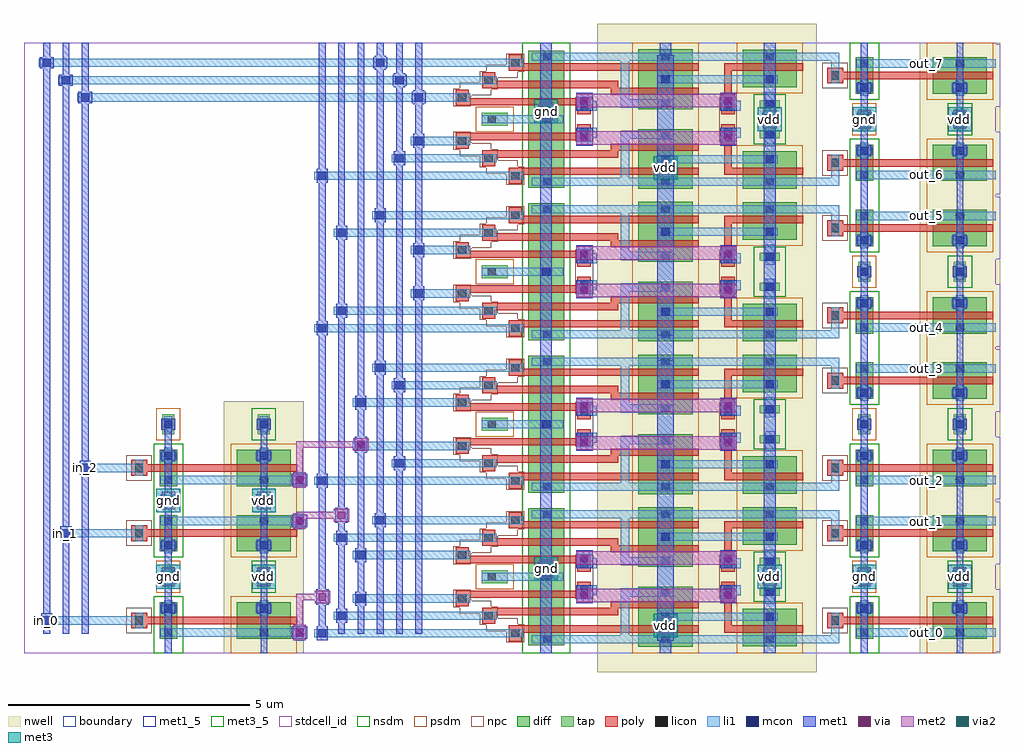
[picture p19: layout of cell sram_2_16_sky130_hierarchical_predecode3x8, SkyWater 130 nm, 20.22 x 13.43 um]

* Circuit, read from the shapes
.subckt sram_2_16_sky130_hierarchical_predecode3x8 gnd in_0 in_1 in_2 out_0 out_1 out_2 out_3 out_4 out_5 out_6 out_7 vdd
XM1 gnd in_0 sram_2_16_sky130_and3_dec_3/A gnd sky130_fd_pr__nfet_01v8 w=0.36 l=0.15
XM2 sram_2_16_sky130_and3_dec_3/B in_1 gnd gnd sky130_fd_pr__nfet_01v8 w=0.36 l=0.15
XM3 gnd in_2 sram_2_16_sky130_and3_dec_3/C gnd sky130_fd_pr__nfet_01v8 w=0.36 l=0.15
XM4 n1 sram_2_16_sky130_and3_dec_3/A sram_2_16_sky130_and3_dec_3/sram_2_16_sky130_pinv_dec_1/A gnd sky130_fd_pr__nfet_01v8 w=0.74 l=0.15
XM5 n2 sram_2_16_sky130_and3_dec_3/B n1 gnd sky130_fd_pr__nfet_01v8 w=0.74 l=0.15
XM6 gnd sram_2_16_sky130_and3_dec_3/C n2 gnd sky130_fd_pr__nfet_01v8 w=0.74 l=0.15
XM7 n3 sram_2_16_sky130_and3_dec_3/C gnd gnd sky130_fd_pr__nfet_01v8 w=0.74 l=0.15
XM8 n4 sram_2_16_sky130_and3_dec_3/B n3 gnd sky130_fd_pr__nfet_01v8 w=0.74 l=0.15
XM9 sram_2_16_sky130_and3_dec_4/sram_2_16_sky130_pinv_dec_1/A in_0 n4 gnd sky130_fd_pr__nfet_01v8 w=0.74 l=0.15
XM10 n5 sram_2_16_sky130_and3_dec_3/A sram_2_16_sky130_and3_dec_5/sram_2_16_sky130_pinv_dec_1/A gnd sky130_fd_pr__nfet_01v8 w=0.74 l=0.15
XM11 n6 in_1 n5 gnd sky130_fd_pr__nfet_01v8 w=0.74 l=0.15
XM12 gnd sram_2_16_sky130_and3_dec_3/C n6 gnd sky130_fd_pr__nfet_01v8 w=0.74 l=0.15
XM13 n7 sram_2_16_sky130_and3_dec_3/C gnd gnd sky130_fd_pr__nfet_01v8 w=0.74 l=0.15
XM14 n8 in_1 n7 gnd sky130_fd_pr__nfet_01v8 w=0.74 l=0.15
XM15 sram_2_16_sky130_and3_dec_6/sram_2_16_sky130_pinv_dec_1/A in_0 n8 gnd sky130_fd_pr__nfet_01v8 w=0.74 l=0.15
XM16 n9 sram_2_16_sky130_and3_dec_3/A sram_2_16_sky130_and3_dec_7/sram_2_16_sky130_pinv_dec_1/A gnd sky130_fd_pr__nfet_01v8 w=0.74 l=0.15
XM17 n10 sram_2_16_sky130_and3_dec_3/B n9 gnd sky130_fd_pr__nfet_01v8 w=0.74 l=0.15
XM18 gnd in_2 n10 gnd sky130_fd_pr__nfet_01v8 w=0.74 l=0.15
XM19 n11 in_2 gnd gnd sky130_fd_pr__nfet_01v8 w=0.74 l=0.15
XM20 n12 sram_2_16_sky130_and3_dec_3/B n11 gnd sky130_fd_pr__nfet_01v8 w=0.74 l=0.15
XM21 sram_2_16_sky130_and3_dec_8/sram_2_16_sky130_pinv_dec_1/A in_0 n12 gnd sky130_fd_pr__nfet_01v8 w=0.74 l=0.15
XM22 n13 sram_2_16_sky130_and3_dec_3/A sram_2_16_sky130_and3_dec_9/sram_2_16_sky130_pinv_dec_1/A gnd sky130_fd_pr__nfet_01v8 w=0.74 l=0.15
XM23 n14 in_1 n13 gnd sky130_fd_pr__nfet_01v8 w=0.74 l=0.15
XM24 gnd in_2 n14 gnd sky130_fd_pr__nfet_01v8 w=0.74 l=0.15
XM25 n15 in_2 gnd gnd sky130_fd_pr__nfet_01v8 w=0.74 l=0.15
XM26 n16 in_1 n15 gnd sky130_fd_pr__nfet_01v8 w=0.74 l=0.15
XM27 sram_2_16_sky130_and3_dec_10/sram_2_16_sky130_pinv_dec_1/A in_0 n16 gnd sky130_fd_pr__nfet_01v8 w=0.74 l=0.15
XM28 gnd sram_2_16_sky130_and3_dec_3/sram_2_16_sky130_pinv_dec_1/A out_0 gnd sky130_fd_pr__nfet_01v8 w=0.36 l=0.15
XM29 out_1 sram_2_16_sky130_and3_dec_4/sram_2_16_sky130_pinv_dec_1/A gnd gnd sky130_fd_pr__nfet_01v8 w=0.36 l=0.15
XM30 gnd sram_2_16_sky130_and3_dec_5/sram_2_16_sky130_pinv_dec_1/A out_2 gnd sky130_fd_pr__nfet_01v8 w=0.36 l=0.15
XM31 out_3 sram_2_16_sky130_and3_dec_6/sram_2_16_sky130_pinv_dec_1/A gnd gnd sky130_fd_pr__nfet_01v8 w=0.36 l=0.15
XM32 gnd sram_2_16_sky130_and3_dec_7/sram_2_16_sky130_pinv_dec_1/A out_4 gnd sky130_fd_pr__nfet_01v8 w=0.36 l=0.15
XM33 out_5 sram_2_16_sky130_and3_dec_8/sram_2_16_sky130_pinv_dec_1/A gnd gnd sky130_fd_pr__nfet_01v8 w=0.36 l=0.15
XM34 gnd sram_2_16_sky130_and3_dec_9/sram_2_16_sky130_pinv_dec_1/A out_6 gnd sky130_fd_pr__nfet_01v8 w=0.36 l=0.15
XM35 out_7 sram_2_16_sky130_and3_dec_10/sram_2_16_sky130_pinv_dec_1/A gnd gnd sky130_fd_pr__nfet_01v8 w=0.36 l=0.15
XM36 vdd in_0 sram_2_16_sky130_and3_dec_3/A vdd sky130_fd_pr__pfet_01v8 w=1.12 l=0.15
XM37 sram_2_16_sky130_and3_dec_3/B in_1 vdd vdd sky130_fd_pr__pfet_01v8 w=1.12 l=0.15
XM38 vdd in_2 sram_2_16_sky130_and3_dec_3/C vdd sky130_fd_pr__pfet_01v8 w=1.12 l=0.15
XM39 vdd sram_2_16_sky130_and3_dec_3/A sram_2_16_sky130_and3_dec_3/sram_2_16_sky130_pinv_dec_1/A vdd sky130_fd_pr__pfet_01v8 w=1.12 l=0.15
XM40 sram_2_16_sky130_and3_dec_3/sram_2_16_sky130_pinv_dec_1/A sram_2_16_sky130_and3_dec_3/B vdd vdd sky130_fd_pr__pfet_01v8 w=1.12 l=0.15
XM41 vdd sram_2_16_sky130_and3_dec_3/B sram_2_16_sky130_and3_dec_4/sram_2_16_sky130_pinv_dec_1/A vdd sky130_fd_pr__pfet_01v8 w=1.12 l=0.15
XM42 sram_2_16_sky130_and3_dec_4/sram_2_16_sky130_pinv_dec_1/A in_0 vdd vdd sky130_fd_pr__pfet_01v8 w=1.12 l=0.15
XM43 vdd sram_2_16_sky130_and3_dec_3/A sram_2_16_sky130_and3_dec_5/sram_2_16_sky130_pinv_dec_1/A vdd sky130_fd_pr__pfet_01v8 w=1.12 l=0.15
XM44 sram_2_16_sky130_and3_dec_5/sram_2_16_sky130_pinv_dec_1/A in_1 vdd vdd sky130_fd_pr__pfet_01v8 w=1.12 l=0.15
XM45 vdd in_1 sram_2_16_sky130_and3_dec_6/sram_2_16_sky130_pinv_dec_1/A vdd sky130_fd_pr__pfet_01v8 w=1.12 l=0.15
XM46 sram_2_16_sky130_and3_dec_6/sram_2_16_sky130_pinv_dec_1/A in_0 vdd vdd sky130_fd_pr__pfet_01v8 w=1.12 l=0.15
XM47 vdd sram_2_16_sky130_and3_dec_3/A sram_2_16_sky130_and3_dec_7/sram_2_16_sky130_pinv_dec_1/A vdd sky130_fd_pr__pfet_01v8 w=1.12 l=0.15
XM48 sram_2_16_sky130_and3_dec_7/sram_2_16_sky130_pinv_dec_1/A sram_2_16_sky130_and3_dec_3/B vdd vdd sky130_fd_pr__pfet_01v8 w=1.12 l=0.15
XM49 vdd sram_2_16_sky130_and3_dec_3/B sram_2_16_sky130_and3_dec_8/sram_2_16_sky130_pinv_dec_1/A vdd sky130_fd_pr__pfet_01v8 w=1.12 l=0.15
XM50 sram_2_16_sky130_and3_dec_8/sram_2_16_sky130_pinv_dec_1/A in_0 vdd vdd sky130_fd_pr__pfet_01v8 w=1.12 l=0.15
XM51 vdd sram_2_16_sky130_and3_dec_3/A sram_2_16_sky130_and3_dec_9/sram_2_16_sky130_pinv_dec_1/A vdd sky130_fd_pr__pfet_01v8 w=1.12 l=0.15
XM52 sram_2_16_sky130_and3_dec_9/sram_2_16_sky130_pinv_dec_1/A in_1 vdd vdd sky130_fd_pr__pfet_01v8 w=1.12 l=0.15
XM53 vdd in_1 sram_2_16_sky130_and3_dec_10/sram_2_16_sky130_pinv_dec_1/A vdd sky130_fd_pr__pfet_01v8 w=1.12 l=0.15
XM54 sram_2_16_sky130_and3_dec_10/sram_2_16_sky130_pinv_dec_1/A in_0 vdd vdd sky130_fd_pr__pfet_01v8 w=1.12 l=0.15
XM55 vdd sram_2_16_sky130_and3_dec_3/C sram_2_16_sky130_and3_dec_3/sram_2_16_sky130_pinv_dec_1/A vdd sky130_fd_pr__pfet_01v8 w=1.12 l=0.15
XM56 sram_2_16_sky130_and3_dec_4/sram_2_16_sky130_pinv_dec_1/A sram_2_16_sky130_and3_dec_3/C vdd vdd sky130_fd_pr__pfet_01v8 w=1.12 l=0.15
XM57 vdd sram_2_16_sky130_and3_dec_3/C sram_2_16_sky130_and3_dec_5/sram_2_16_sky130_pinv_dec_1/A vdd sky130_fd_pr__pfet_01v8 w=1.12 l=0.15
XM58 sram_2_16_sky130_and3_dec_6/sram_2_16_sky130_pinv_dec_1/A sram_2_16_sky130_and3_dec_3/C vdd vdd sky130_fd_pr__pfet_01v8 w=1.12 l=0.15
XM59 vdd in_2 sram_2_16_sky130_and3_dec_7/sram_2_16_sky130_pinv_dec_1/A vdd sky130_fd_pr__pfet_01v8 w=1.12 l=0.15
XM60 sram_2_16_sky130_and3_dec_8/sram_2_16_sky130_pinv_dec_1/A in_2 vdd vdd sky130_fd_pr__pfet_01v8 w=1.12 l=0.15
XM61 vdd in_2 sram_2_16_sky130_and3_dec_9/sram_2_16_sky130_pinv_dec_1/A vdd sky130_fd_pr__pfet_01v8 w=1.12 l=0.15
XM62 sram_2_16_sky130_and3_dec_10/sram_2_16_sky130_pinv_dec_1/A in_2 vdd vdd sky130_fd_pr__pfet_01v8 w=1.12 l=0.15
XM63 vdd sram_2_16_sky130_and3_dec_3/sram_2_16_sky130_pinv_dec_1/A out_0 vdd sky130_fd_pr__pfet_01v8 w=1.12 l=0.15
XM64 out_1 sram_2_16_sky130_and3_dec_4/sram_2_16_sky130_pinv_dec_1/A vdd vdd sky130_fd_pr__pfet_01v8 w=1.12 l=0.15
XM65 vdd sram_2_16_sky130_and3_dec_5/sram_2_16_sky130_pinv_dec_1/A out_2 vdd sky130_fd_pr__pfet_01v8 w=1.12 l=0.15
XM66 out_3 sram_2_16_sky130_and3_dec_6/sram_2_16_sky130_pinv_dec_1/A vdd vdd sky130_fd_pr__pfet_01v8 w=1.12 l=0.15
XM67 vdd sram_2_16_sky130_and3_dec_7/sram_2_16_sky130_pinv_dec_1/A out_4 vdd sky130_fd_pr__pfet_01v8 w=1.12 l=0.15
XM68 out_5 sram_2_16_sky130_and3_dec_8/sram_2_16_sky130_pinv_dec_1/A vdd vdd sky130_fd_pr__pfet_01v8 w=1.12 l=0.15
XM69 vdd sram_2_16_sky130_and3_dec_9/sram_2_16_sky130_pinv_dec_1/A out_6 vdd sky130_fd_pr__pfet_01v8 w=1.12 l=0.15
XM70 out_7 sram_2_16_sky130_and3_dec_10/sram_2_16_sky130_pinv_dec_1/A vdd vdd sky130_fd_pr__pfet_01v8 w=1.12 l=0.15
.ends

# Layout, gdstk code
from math import pi, radians
import gdstk
lib = gdstk.Library(unit=1e-6, precision=1e-09)
def R(c, l, rs):  # rectangles x0, y0, x1, y1
    for r in rs: c.add(gdstk.rectangle(r[:2], r[2:], *l))
def A(c, l, x, y, w, h, nx, ny, dx, dy):  # array of equal rectangles
    R(c, l, [(x+i*dx, y+j*dy, x+i*dx+w, y+j*dy+h) for i in range(nx) for j in range(ny)])
nwell = (64, 20)
diff = (65, 20)
tap = (65, 44)
poly = (66, 20)
licon = (66, 44)
li1 = (67, 20)
mcon = (67, 44)
met1_5 = (68, 5)
met1 = (68, 20)
via = (68, 44)
met2 = (69, 20)
via2 = (69, 44)
met3_5 = (70, 5)
met3 = (70, 20)
stdcell_id = (81, 4)
nsdm = (93, 44)
psdm = (94, 20)
npc = (95, 20)
boundary = (235, 4)

sram_2_16_sky130_contact = lib.new_cell('sram_2_16_sky130_contact_11')
R(sram_2_16_sky130_contact, nwell, [(-0.295,-0.255,0.545,0.585)])
R(sram_2_16_sky130_contact, diff, [(0,0.02,0.25,0.31)])
R(sram_2_16_sky130_contact, licon, [(0.04,0.08,0.21,0.25)])
R(sram_2_16_sky130_contact, li1, [(0.04,0,0.21,0.33)])
R(sram_2_16_sky130_contact, stdcell_id, [(-0.295,-0.255,0.545,0.585)])
R(sram_2_16_sky130_contact, psdm, [(-0.125,-0.105,0.375,0.435)])
R(sram_2_16_sky130_contact, boundary, [(-0.295,-0.255,0.545,0.585)])

sram_2_16_sky130_pmos_m1 = lib.new_cell('sram_2_16_sky130_pmos_m1_w1_120_sli_dli_da_p')
R(sram_2_16_sky130_pmos_m1, nwell, [(-0.27,-0.27,1.02,1.39)])
R(sram_2_16_sky130_pmos_m1, diff, [(0,0,0.75,1.12)])
R(sram_2_16_sky130_pmos_m1, poly, [(0.3,-0.13,0.45,1.25), (0.3,-0.13,0.45,1.25)])
R(sram_2_16_sky130_pmos_m1, li1, [(0.04,0.395,0.21,0.725), (0.54,0.395,0.71,0.725)])
R(sram_2_16_sky130_pmos_m1, stdcell_id, [(-0.27,-0.27,1.02,1.39)])
R(sram_2_16_sky130_pmos_m1, psdm, [(-0.125,-0.125,0.875,1.245)])
R(sram_2_16_sky130_pmos_m1, boundary, [(-0.27,-0.27,1.02,1.39)])
sram_2_16_sky130_pmos_m1.add(gdstk.Reference(sram_2_16_sky130_contact, (0,0.395)))
sram_2_16_sky130_pmos_m1.add(gdstk.Reference(sram_2_16_sky130_contact, (0.5,0.395)))
sram_2_16_sky130_pmos_m1.add(gdstk.Label('G', (0.375,0.56), layer=66, texttype=5))
sram_2_16_sky130_pmos_m1.add(gdstk.Label('S', (0.125,0.56), layer=67, texttype=5))
sram_2_16_sky130_pmos_m1.add(gdstk.Label('D', (0.625,0.56), layer=67, texttype=5))

c_sram_2_16_sky130_contact = lib.new_cell('sram_2_16_sky130_contact_10')
R(c_sram_2_16_sky130_contact, diff, [(0,0.02,0.25,0.31)])
R(c_sram_2_16_sky130_contact, licon, [(0.04,0.08,0.21,0.25)])
R(c_sram_2_16_sky130_contact, li1, [(0.04,0,0.21,0.33)])
R(c_sram_2_16_sky130_contact, stdcell_id, [(-0.125,-0.105,0.375,0.435)])
R(c_sram_2_16_sky130_contact, nsdm, [(-0.125,-0.105,0.375,0.435)])
R(c_sram_2_16_sky130_contact, boundary, [(-0.125,-0.105,0.375,0.435)])

sram_2_16_sky130_nmos_m1 = lib.new_cell('sram_2_16_sky130_nmos_m1_w0_360_sli_dli_da_p')
R(sram_2_16_sky130_nmos_m1, diff, [(0,0,0.75,0.36)])
R(sram_2_16_sky130_nmos_m1, poly, [(0.3,-0.13,0.45,0.49), (0.3,-0.13,0.45,0.49)])
R(sram_2_16_sky130_nmos_m1, li1, [(0.04,0.015,0.21,0.345), (0.54,0.015,0.71,0.345)])
R(sram_2_16_sky130_nmos_m1, stdcell_id, [(-0.125,-0.13,0.875,0.49)])
R(sram_2_16_sky130_nmos_m1, nsdm, [(-0.125,-0.125,0.875,0.485)])
R(sram_2_16_sky130_nmos_m1, boundary, [(-0.125,-0.13,0.875,0.49)])
sram_2_16_sky130_nmos_m1.add(gdstk.Reference(c_sram_2_16_sky130_contact, (0,0.015)))
sram_2_16_sky130_nmos_m1.add(gdstk.Reference(c_sram_2_16_sky130_contact, (0.5,0.015)))
sram_2_16_sky130_nmos_m1.add(gdstk.Label('G', (0.375,0.18), layer=66, texttype=5))
sram_2_16_sky130_nmos_m1.add(gdstk.Label('S', (0.125,0.18), layer=67, texttype=5))
sram_2_16_sky130_nmos_m1.add(gdstk.Label('D', (0.625,0.18), layer=67, texttype=5))

c_sram_2_16_sky130_contact_ = lib.new_cell('sram_2_16_sky130_contact_12')
R(c_sram_2_16_sky130_contact_, nwell, [(-0.295,-0.215,0.545,0.625)])
R(c_sram_2_16_sky130_contact_, tap, [(0,0,0.25,0.41)])
R(c_sram_2_16_sky130_contact_, licon, [(0.04,0.12,0.21,0.29)])
R(c_sram_2_16_sky130_contact_, li1, [(0.04,0.04,0.21,0.37)])
R(c_sram_2_16_sky130_contact_, stdcell_id, [(-0.295,-0.215,0.545,0.625)])
R(c_sram_2_16_sky130_contact_, nsdm, [(-0.125,-0.125,0.375,0.535)])
R(c_sram_2_16_sky130_contact_, boundary, [(-0.295,-0.215,0.545,0.625)])

c_sram_2_16_sky130_contact__ = lib.new_cell('sram_2_16_sky130_contact_13')
R(c_sram_2_16_sky130_contact__, li1, [(0.06,0,0.23,0.33)])
R(c_sram_2_16_sky130_contact__, mcon, [(0.06,0.08,0.23,0.25)])
R(c_sram_2_16_sky130_contact__, met1, [(0,0.05,0.29,0.28)])
R(c_sram_2_16_sky130_contact__, stdcell_id, [(0,0,0.29,0.33)])
R(c_sram_2_16_sky130_contact__, boundary, [(0,0,0.29,0.33)])

c_sram_2_16_sky130_contact___ = lib.new_cell('sram_2_16_sky130_contact_14')
R(c_sram_2_16_sky130_contact___, tap, [(0,0,0.25,0.41)])
R(c_sram_2_16_sky130_contact___, licon, [(0.04,0.12,0.21,0.29)])
R(c_sram_2_16_sky130_contact___, li1, [(0.04,0.04,0.21,0.37)])
R(c_sram_2_16_sky130_contact___, stdcell_id, [(-0.125,-0.125,0.375,0.535)])
R(c_sram_2_16_sky130_contact___, psdm, [(-0.125,-0.125,0.375,0.535)])
R(c_sram_2_16_sky130_contact___, boundary, [(-0.125,-0.125,0.375,0.535)])

c_sram_2_16_sky130_contact____ = lib.new_cell('sram_2_16_sky130_contact_15')
R(c_sram_2_16_sky130_contact____, poly, [(0,0,0.33,0.33)])
R(c_sram_2_16_sky130_contact____, licon, [(0.08,0.08,0.25,0.25)])
R(c_sram_2_16_sky130_contact____, li1, [(0.08,0,0.25,0.33)])
R(c_sram_2_16_sky130_contact____, stdcell_id, [(-0.1,-0.1,0.43,0.43)])
R(c_sram_2_16_sky130_contact____, npc, [(-0.1,-0.1,0.43,0.43)])
R(c_sram_2_16_sky130_contact____, boundary, [(-0.1,-0.1,0.43,0.43)])

sram_2_16_sky130_pinv_de = lib.new_cell('sram_2_16_sky130_pinv_dec')
R(sram_2_16_sky130_pinv_de, nwell, [(2.14,0,3.8,2.055)])
R(sram_2_16_sky130_pinv_de, poly, [(0.385,0.6,0.68,0.75), (1.3,0.6,2.28,0.75)])
R(sram_2_16_sky130_pinv_de, li1, [(0.825,0.34,3.71,0.51), (0.3,0.51,0.47,0.84)])
R(sram_2_16_sky130_pinv_de, met1_5, [(0.92,0,1.06,1.58), (2.9,0,3.04,1.58)])
R(sram_2_16_sky130_pinv_de, met1, [(0.92,0,1.06,1.58), (2.9,0,3.04,1.58)])
R(sram_2_16_sky130_pinv_de, stdcell_id, [(0,0,3.71,1.58), (0,0,3.71,1.58)])
R(sram_2_16_sky130_pinv_de, nsdm, [(0.685,0,1.295,1.05)])
R(sram_2_16_sky130_pinv_de, psdm, [(2.285,0,3.655,1.05)])
R(sram_2_16_sky130_pinv_de, boundary, [(0,0,3.71,1.58), (0,0,3.71,1.58)])
sram_2_16_sky130_pinv_de.add(gdstk.Reference(sram_2_16_sky130_pmos_m1, (2.41,1.05), rotation=3*pi/2))
sram_2_16_sky130_pinv_de.add(gdstk.Reference(sram_2_16_sky130_nmos_m1, (0.81,1.05), rotation=3*pi/2))
sram_2_16_sky130_pinv_de.add(gdstk.Reference(c_sram_2_16_sky130_contact_, (2.845,1.375)))
sram_2_16_sky130_pinv_de.add(gdstk.Reference(c_sram_2_16_sky130_contact__, (2.825,1.415)))
sram_2_16_sky130_pinv_de.add(gdstk.Reference(c_sram_2_16_sky130_contact___, (0.865,1.375)))
sram_2_16_sky130_pinv_de.add(gdstk.Reference(c_sram_2_16_sky130_contact__, (0.845,1.415)))
sram_2_16_sky130_pinv_de.add(gdstk.Reference(c_sram_2_16_sky130_contact____, (0.22,0.51)))
sram_2_16_sky130_pinv_de.add(gdstk.Reference(c_sram_2_16_sky130_contact__, (0.845,0.76)))
sram_2_16_sky130_pinv_de.add(gdstk.Reference(c_sram_2_16_sky130_contact__, (2.825,0.76)))
sram_2_16_sky130_pinv_de.add(gdstk.Label('A', (0.385,0.675), layer=67, texttype=5))
sram_2_16_sky130_pinv_de.add(gdstk.Label('Z', (2.268,0.425), layer=67, texttype=5))
sram_2_16_sky130_pinv_de.add(gdstk.Label('gnd', (0.99,0.79), layer=68, texttype=5))
sram_2_16_sky130_pinv_de.add(gdstk.Label('vdd', (2.97,0.79), layer=68, texttype=5))

sky130_fd_bd_sram__openr = lib.new_cell('sky130_fd_bd_sram__openram_sp_nand3_dec')
R(sky130_fd_bd_sram__openr, nwell, [(2.97,-0.395,7.51,2.185)])
R(sky130_fd_bd_sram__openr, diff, [(3.82,0.135,4.94,1.375), (5.98,0.14,7.1,0.915), (1.54,0.16,2.28,1.71)])
R(sky130_fd_bd_sram__openr, tap, [(6.33,1.185,6.75,1.355), (0.575,1.445,1.115,1.715)])
R(sky130_fd_bd_sram__openr, poly, [(1.13,0.245,1.4,0.425), (1.13,0.425,5.07,0.575), (5.6,0.425,7.23,0.575), (5.6,0.575,5.75,1.065), (0.58,0.605,0.85,0.785), (0.58,0.785,3.4,0.925), (0.58,0.925,5.07,0.935), (3.25,0.935,5.07,1.075), (0.03,0.965,0.305,1.145), (5.54,1.065,5.81,1.475), (0.03,1.145,2.83,1.295), (2.555,1.295,2.83,1.475)])
R(sky130_fd_bd_sram__openr, licon, [(1.845,0.2,2.015,0.37), (4.295,0.2,4.465,0.37), (6.455,0.2,6.625,0.37), (1.18,0.325,1.35,0.495), (4.295,0.665,4.465,0.835), (6.455,0.665,6.625,0.835), (0.63,0.685,0.8,0.855), (0.08,1.045,0.25,1.215), (4.295,1.165,4.465,1.335), (6.45,1.185,6.62,1.355), (2.61,1.225,2.78,1.395), (5.59,1.225,5.76,1.395), (0.695,1.495,0.865,1.665), (1.835,1.495,2.005,1.665)])
R(sky130_fd_bd_sram__openr, li1, [(1.61,0.2,7.51,0.37), (1.61,0.2,7.51,0.37), (1.1,0.325,1.43,0.495), (1.1,0.325,1.43,0.495), (3.455,0.37,3.625,1.17), (4.21,0.665,6.705,0.835), (0.55,0.685,0.88,0.855), (0.55,0.685,0.88,0.855), (6.45,1.02,6.64,1.435), (0,1.045,0.33,1.215), (0,1.045,0.33,1.215), (2.53,1.11,2.87,1.195), (5.51,1.11,5.85,1.195), (4.21,1.165,4.55,1.17), (3.455,1.17,4.55,1.335), (2.53,1.195,2.955,1.405), (5.51,1.195,5.935,1.405), (3.455,1.335,4.335,1.34), (0.575,1.495,2.265,1.665)])
R(sky130_fd_bd_sram__openr, mcon, [(4.295,0.665,4.465,0.835), (6.455,0.665,6.625,0.835), (2.61,1.17,2.78,1.34), (5.59,1.17,5.76,1.34), (6.45,1.185,6.62,1.355), (1.82,1.495,1.99,1.665)])
R(sky130_fd_bd_sram__openr, met1_5, [(6.42,-0.005,6.66,1.58), (6.42,-0.005,6.66,1.58), (1.79,0,2.02,1.745), (1.79,0,2.02,1.745), (4.21,0.255,4.555,0.57)])
R(sky130_fd_bd_sram__openr, met1, [(6.42,-0.005,6.66,1.51), (6.42,-0.005,6.66,1.58), (1.79,0,2.02,1.745), (1.79,0,2.02,1.745), (4.26,0,4.5,1.58), (4.21,0.255,4.555,0.57), (4.21,0.255,4.555,0.57), (4.21,0.57,4.555,0.63), (2.53,1.03,2.875,1.345), (5.51,1.03,5.855,1.345), (2.53,1.345,2.875,1.405), (5.51,1.345,5.855,1.405)])
R(sky130_fd_bd_sram__openr, via, [(2.625,1.12,2.775,1.27), (5.605,1.12,5.755,1.27)])
R(sky130_fd_bd_sram__openr, met2, [(2.53,1.055,2.875,1.335), (2.53,1.055,5.855,1.335), (5.51,1.055,5.855,1.195), (5.51,1.195,5.855,1.335)])
R(sky130_fd_bd_sram__openr, nsdm, [(1.415,0,2.405,1.835), (6.205,1.06,6.875,1.58)])
R(sky130_fd_bd_sram__openr, psdm, [(3.695,0,5.065,1.58), (5.855,0,7.225,1.04), (0.45,1.32,1.24,1.84)])
R(sky130_fd_bd_sram__openr, npc, [(1.08,0.225,1.45,0.455), (0.665,0.455,1.45,0.585), (0.53,0.585,1.45,0.595), (0.53,0.595,1.315,0.725), (0.53,0.725,0.9,0.815), (0.115,0.815,0.9,0.945), (-0.02,0.945,0.9,0.955), (-0.02,0.955,0.765,1.085), (-0.02,1.085,0.37,1.105), (-0.02,1.105,0.35,1.315), (2.51,1.125,2.88,1.58), (5.49,1.125,5.86,1.58)])
R(sky130_fd_bd_sram__openr, boundary, [(0,0,7.51,1.58)])
sky130_fd_bd_sram__openr.add(gdstk.Label('vdd', (4.53,0.49), layer=68, texttype=5))
sky130_fd_bd_sram__openr.add(gdstk.Label('VDD', (4.53,0.485), layer=68, texttype=5))
sky130_fd_bd_sram__openr.add(gdstk.Label('GND', (1.905,0.715), layer=68, texttype=5))
sky130_fd_bd_sram__openr.add(gdstk.Label('gnd', (1.905,0.705), layer=68, texttype=5))
sky130_fd_bd_sram__openr.add(gdstk.Label('VDD', (6.54,0.737), layer=68, texttype=5))
sky130_fd_bd_sram__openr.add(gdstk.Label('vdd', (6.54,0.735), layer=68, texttype=5))
sky130_fd_bd_sram__openr.add(gdstk.Label('gnd', (1.905,0.715), layer=68, texttype=5))
sky130_fd_bd_sram__openr.add(gdstk.Label('Z', (7.37,0.285), layer=67, texttype=5))
sky130_fd_bd_sram__openr.add(gdstk.Label('A', (1.265,0.41), layer=67, texttype=5))
sky130_fd_bd_sram__openr.add(gdstk.Label('B', (0.715,0.77), layer=67, texttype=5))
sky130_fd_bd_sram__openr.add(gdstk.Label('C', (0.165,1.13), layer=67, texttype=5))
sky130_fd_bd_sram__openr.add(gdstk.Label('A', (1.265,0.41), layer=67, texttype=5))
sky130_fd_bd_sram__openr.add(gdstk.Label('B', (0.715,0.77), layer=67, texttype=5))
sky130_fd_bd_sram__openr.add(gdstk.Label('C', (0.165,1.13), layer=67, texttype=5))
sky130_fd_bd_sram__openr.add(gdstk.Label('Z', (4.56,0.285), layer=67, texttype=5))
sky130_fd_bd_sram__openr.add(gdstk.Label('vdd', (4.382,0.413), layer=68, texttype=5))
sky130_fd_bd_sram__openr.add(gdstk.Label('vdd', (6.54,0.788), layer=68, texttype=5))
sky130_fd_bd_sram__openr.add(gdstk.Label('gnd', (1.905,0.872), layer=68, texttype=5))

sram_2_16_sky130_and3_de = lib.new_cell('sram_2_16_sky130_and3_dec')
R(sram_2_16_sky130_and3_de, li1, [(4.56,0.2,7.895,0.37), (7.81,0.2,7.98,0.37), (7.81,0.285,7.98,0.675), (1.1,0.325,1.43,0.495), (8.335,0.34,11.22,0.51), (0.55,0.685,0.88,0.855), (0,1.045,0.33,1.215)])
R(sram_2_16_sky130_and3_de, met1_5, [(6.42,-0.005,6.66,1.58), (1.79,0,2.02,1.745), (8.43,0,8.57,1.58), (10.41,0,10.55,1.58), (4.21,0.255,4.555,0.57)])
R(sram_2_16_sky130_and3_de, met1, [(6.42,-0.005,6.66,1.58), (1.79,0,2.02,1.745), (8.43,0,8.57,1.58), (10.41,0,10.55,1.58), (4.21,0.255,4.555,0.57)])
R(sram_2_16_sky130_and3_de, stdcell_id, [(0,0,11.22,1.58)])
R(sram_2_16_sky130_and3_de, boundary, [(0,0,11.22,1.58)])
sram_2_16_sky130_and3_de.add(gdstk.Reference(sky130_fd_bd_sram__openr, (0,0)))
sram_2_16_sky130_and3_de.add(gdstk.Reference(sram_2_16_sky130_pinv_de, (7.51,0)))
sram_2_16_sky130_and3_de.add(gdstk.Label('Z', (9.778,0.425), layer=67, texttype=5))
sram_2_16_sky130_and3_de.add(gdstk.Label('A', (1.265,0.41), layer=67, texttype=5))
sram_2_16_sky130_and3_de.add(gdstk.Label('B', (0.715,0.77), layer=67, texttype=5))
sram_2_16_sky130_and3_de.add(gdstk.Label('C', (0.165,1.13), layer=67, texttype=5))
sram_2_16_sky130_and3_de.add(gdstk.Label('vdd', (4.382,0.413), layer=68, texttype=5))
sram_2_16_sky130_and3_de.add(gdstk.Label('vdd', (6.54,0.788), layer=68, texttype=5))
sram_2_16_sky130_and3_de.add(gdstk.Label('vdd', (10.48,0.79), layer=68, texttype=5))
sram_2_16_sky130_and3_de.add(gdstk.Label('gnd', (1.905,0.872), layer=68, texttype=5))
sram_2_16_sky130_and3_de.add(gdstk.Label('gnd', (8.5,0.79), layer=68, texttype=5))

c_sram_2_16_sky130_contact_____ = lib.new_cell('sram_2_16_sky130_contact_16')
R(c_sram_2_16_sky130_contact_____, li1, [(0,0.06,0.33,0.23)])
R(c_sram_2_16_sky130_contact_____, mcon, [(0.08,0.06,0.25,0.23)])
R(c_sram_2_16_sky130_contact_____, met1, [(0.05,0,0.28,0.29)])
R(c_sram_2_16_sky130_contact_____, stdcell_id, [(0,0,0.33,0.29)])
R(c_sram_2_16_sky130_contact_____, boundary, [(0,0,0.33,0.29)])

c_sram_2_16_sky130_contact______ = lib.new_cell('sram_2_16_sky130_contact_7')
R(c_sram_2_16_sky130_contact______, met1, [(0,0.03,0.32,0.29)])
R(c_sram_2_16_sky130_contact______, via, [(0.085,0.085,0.235,0.235)])
R(c_sram_2_16_sky130_contact______, met2, [(0.03,0,0.29,0.32)])
R(c_sram_2_16_sky130_contact______, stdcell_id, [(0,0,0.32,0.32)])
R(c_sram_2_16_sky130_contact______, boundary, [(0,0,0.32,0.32)])

c_sram_2_16_sky130_contact_______ = lib.new_cell('sram_2_16_sky130_contact_18')
R(c_sram_2_16_sky130_contact_______, met1, [(0.03,0,0.29,0.32)])
R(c_sram_2_16_sky130_contact_______, via, [(0.085,0.085,0.235,0.235)])
R(c_sram_2_16_sky130_contact_______, met2, [(0,0.03,0.32,0.29)])
R(c_sram_2_16_sky130_contact_______, stdcell_id, [(0,0,0.32,0.32)])
R(c_sram_2_16_sky130_contact_______, boundary, [(0,0,0.32,0.32)])

c_sram_2_16_sky130_contact________ = lib.new_cell('sram_2_16_sky130_contact_19')
R(c_sram_2_16_sky130_contact________, li1, [(0,0.03,0.33,0.2)])
R(c_sram_2_16_sky130_contact________, mcon, [(0.08,0.03,0.25,0.2)])
R(c_sram_2_16_sky130_contact________, met1, [(0.02,0,0.31,0.23)])
R(c_sram_2_16_sky130_contact________, stdcell_id, [(0,0,0.33,0.23)])
R(c_sram_2_16_sky130_contact________, boundary, [(0,0,0.33,0.23)])

c_sram_2_16_sky130_contact_________ = lib.new_cell('sram_2_16_sky130_contact_8')
R(c_sram_2_16_sky130_contact_________, met2, [(0.025,0,0.305,0.37)])
R(c_sram_2_16_sky130_contact_________, via2, [(0.065,0.085,0.265,0.285)])
R(c_sram_2_16_sky130_contact_________, met3, [(0,0.02,0.33,0.35)])
R(c_sram_2_16_sky130_contact_________, stdcell_id, [(0,0,0.33,0.37)])
R(c_sram_2_16_sky130_contact_________, boundary, [(0,0,0.33,0.37)])

sram_2_16_sky130_hierarc = lib.new_cell('sram_2_16_sky130_hierarchical_predecode3x8')
A(sram_2_16_sky130_hierarc, li1, 6.18, 0.325, 3.995, 0.17, 1, 4, 0, 3.16)
A(sram_2_16_sky130_hierarc, li1, 7.38, 2.665, 2.795, 0.17, 1, 4, 0, 3.16)
R(sram_2_16_sky130_hierarc, li1, [(10.09,0.325,10.26,0.495), (17.245,0.34,20.13,0.51), (0.47,0.59,2.385,0.76), (2.3,0.59,2.47,0.76), (6.58,0.685,9.625,0.855), (9.54,0.685,9.71,0.855), (6.98,1.045,9.075,1.215), (8.99,1.045,9.16,1.215), (6.98,1.945,9.075,2.115), (8.99,1.945,9.16,2.115), (6.58,2.305,9.625,2.475), (9.54,2.305,9.71,2.475), (0.87,2.4,2.385,2.57), (2.3,2.4,2.47,2.57), (17.245,2.65,20.13,2.82), (10.09,2.665,10.26,2.835), (10.09,3.485,10.26,3.655), (17.245,3.5,20.13,3.67), (1.27,3.75,2.385,3.92), (2.3,3.75,2.47,3.92), (7.78,3.845,9.625,4.015), (9.54,3.845,9.71,4.015), (6.98,4.205,9.075,4.375), (8.99,4.205,9.16,4.375), (6.98,5.105,9.075,5.275), (8.99,5.105,9.16,5.275), (7.78,5.465,9.625,5.635), (9.54,5.465,9.71,5.635), (17.245,5.81,20.13,5.98), (10.09,5.825,10.26,5.995), (10.09,6.645,10.26,6.815), (17.245,6.66,20.13,6.83), (6.58,7.005,9.625,7.175), (9.54,7.005,9.71,7.175), (8.18,7.365,9.075,7.535), (8.99,7.365,9.16,7.535), (8.18,8.265,9.075,8.435), (8.99,8.265,9.16,8.435), (6.58,8.625,9.625,8.795), (9.54,8.625,9.71,8.795), (17.245,8.97,20.13,9.14), (10.09,8.985,10.26,9.155), (10.09,9.805,10.26,9.975), (17.245,9.82,20.13,9.99), (7.78,10.165,9.625,10.335), (9.54,10.165,9.71,10.335), (8.18,10.525,9.075,10.695), (8.99,10.525,9.16,10.695), (1.27,11.425,8.18,11.595), (8.18,11.425,9.075,11.595), (8.99,11.425,9.16,11.595), (0.87,11.785,7.78,11.955), (7.78,11.785,9.625,11.955), (9.54,11.785,9.71,11.955), (17.245,12.13,20.13,12.3), (0.47,12.145,7.38,12.315), (10.09,12.145,10.26,12.315)])
R(sram_2_16_sky130_hierarc, met1_5, [(0.355,0.53,0.585,0.82), (0.755,2.34,0.985,2.63), (1.155,3.69,1.385,3.98)])
A(sram_2_16_sky130_hierarc, met1, 0.4, 0.4, 0.14, 12.24, 3, 1, 0.4, 0)
A(sram_2_16_sky130_hierarc, met1, 6.11, 0.4, 0.14, 12.24, 6, 1, 0.4, 0)
R(sram_2_16_sky130_hierarc, met1, [(5.55,0.295,5.87,0.555), (2.92,0.4,3.06,4.74), (4.9,0.4,5.04,4.74), (10.7,0.4,10.93,12.64), (13.12,0.4,13.465,12.385), (15.33,0.4,15.57,12.645), (17.34,0.4,17.48,12.64), (19.32,0.4,19.46,12.64), (13.135,0.44,13.455,0.7), (0.355,0.53,0.585,0.82), (2.83,1.45,3.15,1.71), (4.81,1.45,5.13,1.71), (15.29,1.45,15.61,1.71), (17.25,1.45,17.57,1.71), (19.23,1.45,19.55,1.71), (10.655,1.615,10.975,1.875), (0.755,2.34,0.985,2.63), (5.55,2.605,5.87,2.865), (2.83,3.03,3.15,3.29), (4.81,3.03,5.13,3.29), (5.55,3.455,5.87,3.715), (1.155,3.69,1.385,3.98), (13.135,9.92,13.455,10.18), (15.29,10.93,15.61,11.19), (17.25,10.93,17.57,11.19), (19.23,10.93,19.55,11.19), (10.655,11.095,10.975,11.355)])
R(sram_2_16_sky130_hierarc, met2, [(5.64,0.425,5.78,1.16), (13.15,0.45,13.43,0.69), (5.64,1.09,5.78,1.23), (5.71,1.09,6.18,1.23), (2.85,1.46,3.13,1.7), (4.83,1.46,5.11,1.7), (15.31,1.46,15.59,1.7), (17.27,1.46,17.55,1.7), (19.25,1.46,19.53,1.7), (10.675,1.625,10.955,1.865), (5.64,2.735,5.78,2.855), (5.64,2.785,5.78,2.925), (5.71,2.785,6.58,2.925), (2.85,3.04,3.13,3.28), (4.83,3.04,5.11,3.28), (5.64,3.585,5.78,4.32), (5.64,4.25,5.78,4.39), (5.71,4.25,6.98,4.39), (13.15,9.93,13.43,10.17), (15.31,10.94,15.59,11.18), (17.27,10.94,17.55,11.18), (19.25,10.94,19.53,11.18), (10.675,11.105,10.955,11.345)])
R(sram_2_16_sky130_hierarc, met3_5, [(13.05,0.325,13.54,0.815), (2.745,1.335,3.235,1.825), (4.725,1.335,5.215,1.825), (15.205,1.335,15.695,1.825), (17.165,1.335,17.655,1.825), (19.145,1.335,19.635,1.825), (10.57,1.5,11.06,1.99), (2.745,2.915,3.235,3.405), (4.725,2.915,5.215,3.405), (13.05,9.805,13.54,10.295), (15.205,10.815,15.695,11.305), (17.165,10.815,17.655,11.305), (19.145,10.815,19.635,11.305), (10.57,10.98,11.06,11.47)])
R(sram_2_16_sky130_hierarc, met3, [(13.05,0.325,13.54,0.815), (2.745,1.335,3.235,1.825), (4.725,1.335,5.215,1.825), (15.205,1.335,15.695,1.825), (17.165,1.335,17.655,1.825), (19.145,1.335,19.635,1.825), (10.57,1.5,11.06,1.99), (2.745,2.915,3.235,3.405), (4.725,2.915,5.215,3.405), (13.05,9.805,13.54,10.295), (15.205,10.815,15.695,11.305), (17.165,10.815,17.655,11.305), (19.145,10.815,19.635,11.305), (10.57,10.98,11.06,11.47)])
R(sram_2_16_sky130_hierarc, stdcell_id, [(0,0,20.13,12.64)])
R(sram_2_16_sky130_hierarc, boundary, [(0,0,20.13,12.64)])
sram_2_16_sky130_hierarc.add(gdstk.Reference(sram_2_16_sky130_pinv_de, (2,0)))
sram_2_16_sky130_hierarc.add(gdstk.Reference(sram_2_16_sky130_pinv_de, (2,3.16), x_reflection=True))
sram_2_16_sky130_hierarc.add(gdstk.Reference(sram_2_16_sky130_pinv_de, (2,3.16)))
sram_2_16_sky130_hierarc.add(gdstk.Reference(sram_2_16_sky130_and3_de, (8.91,0)))
sram_2_16_sky130_hierarc.add(gdstk.Reference(sram_2_16_sky130_and3_de, (8.91,3.16), x_reflection=True))
sram_2_16_sky130_hierarc.add(gdstk.Reference(sram_2_16_sky130_and3_de, (8.91,3.16)))
sram_2_16_sky130_hierarc.add(gdstk.Reference(sram_2_16_sky130_and3_de, (8.91,6.32), x_reflection=True))
sram_2_16_sky130_hierarc.add(gdstk.Reference(sram_2_16_sky130_and3_de, (8.91,6.32)))
sram_2_16_sky130_hierarc.add(gdstk.Reference(sram_2_16_sky130_and3_de, (8.91,9.48), x_reflection=True))
sram_2_16_sky130_hierarc.add(gdstk.Reference(sram_2_16_sky130_and3_de, (8.91,9.48)))
sram_2_16_sky130_hierarc.add(gdstk.Reference(sram_2_16_sky130_and3_de, (8.91,12.64), x_reflection=True))
sram_2_16_sky130_hierarc.add(gdstk.Reference(c_sram_2_16_sky130_contact_____, (0.305,0.53)))
sram_2_16_sky130_hierarc.add(gdstk.Reference(c_sram_2_16_sky130_contact_____, (0.705,2.34)))
sram_2_16_sky130_hierarc.add(gdstk.Reference(c_sram_2_16_sky130_contact_____, (1.105,3.69)))
sram_2_16_sky130_hierarc.add(gdstk.Reference(c_sram_2_16_sky130_contact_____, (6.015,0.265)))
sram_2_16_sky130_hierarc.add(gdstk.Reference(c_sram_2_16_sky130_contact_____, (6.415,0.625)))
sram_2_16_sky130_hierarc.add(gdstk.Reference(c_sram_2_16_sky130_contact_____, (6.815,0.985)))
sram_2_16_sky130_hierarc.add(gdstk.Reference(c_sram_2_16_sky130_contact_____, (7.215,2.605)))
sram_2_16_sky130_hierarc.add(gdstk.Reference(c_sram_2_16_sky130_contact_____, (6.415,2.245)))
sram_2_16_sky130_hierarc.add(gdstk.Reference(c_sram_2_16_sky130_contact_____, (6.815,1.885)))
sram_2_16_sky130_hierarc.add(gdstk.Reference(c_sram_2_16_sky130_contact_____, (6.015,3.425)))
sram_2_16_sky130_hierarc.add(gdstk.Reference(c_sram_2_16_sky130_contact_____, (7.615,3.785)))
sram_2_16_sky130_hierarc.add(gdstk.Reference(c_sram_2_16_sky130_contact_____, (6.815,4.145)))
sram_2_16_sky130_hierarc.add(gdstk.Reference(c_sram_2_16_sky130_contact_____, (7.215,5.765)))
sram_2_16_sky130_hierarc.add(gdstk.Reference(c_sram_2_16_sky130_contact_____, (7.615,5.405)))
sram_2_16_sky130_hierarc.add(gdstk.Reference(c_sram_2_16_sky130_contact_____, (6.815,5.045)))
sram_2_16_sky130_hierarc.add(gdstk.Reference(c_sram_2_16_sky130_contact_____, (6.015,6.585)))
sram_2_16_sky130_hierarc.add(gdstk.Reference(c_sram_2_16_sky130_contact_____, (6.415,6.945)))
sram_2_16_sky130_hierarc.add(gdstk.Reference(c_sram_2_16_sky130_contact_____, (8.015,7.305)))
sram_2_16_sky130_hierarc.add(gdstk.Reference(c_sram_2_16_sky130_contact_____, (7.215,8.925)))
sram_2_16_sky130_hierarc.add(gdstk.Reference(c_sram_2_16_sky130_contact_____, (6.415,8.565)))
sram_2_16_sky130_hierarc.add(gdstk.Reference(c_sram_2_16_sky130_contact_____, (8.015,8.205)))
sram_2_16_sky130_hierarc.add(gdstk.Reference(c_sram_2_16_sky130_contact_____, (6.015,9.745)))
sram_2_16_sky130_hierarc.add(gdstk.Reference(c_sram_2_16_sky130_contact_____, (7.615,10.105)))
sram_2_16_sky130_hierarc.add(gdstk.Reference(c_sram_2_16_sky130_contact_____, (8.015,10.465)))
sram_2_16_sky130_hierarc.add(gdstk.Reference(c_sram_2_16_sky130_contact_____, (7.215,12.085)))
sram_2_16_sky130_hierarc.add(gdstk.Reference(c_sram_2_16_sky130_contact_____, (7.615,11.725)))
sram_2_16_sky130_hierarc.add(gdstk.Reference(c_sram_2_16_sky130_contact_____, (8.015,11.365)))
sram_2_16_sky130_hierarc.add(gdstk.Reference(c_sram_2_16_sky130_contact__, (5.565,0.26)))
sram_2_16_sky130_hierarc.add(gdstk.Reference(c_sram_2_16_sky130_contact______, (5.55,0.265)))
sram_2_16_sky130_hierarc.add(gdstk.Reference(c_sram_2_16_sky130_contact_______, (6.02,1)))
sram_2_16_sky130_hierarc.add(gdstk.Reference(c_sram_2_16_sky130_contact__, (5.565,2.57)))
sram_2_16_sky130_hierarc.add(gdstk.Reference(c_sram_2_16_sky130_contact______, (5.55,2.575)))
sram_2_16_sky130_hierarc.add(gdstk.Reference(c_sram_2_16_sky130_contact_______, (6.42,2.695)))
sram_2_16_sky130_hierarc.add(gdstk.Reference(c_sram_2_16_sky130_contact__, (5.565,3.42)))
sram_2_16_sky130_hierarc.add(gdstk.Reference(c_sram_2_16_sky130_contact______, (5.55,3.425)))
sram_2_16_sky130_hierarc.add(gdstk.Reference(c_sram_2_16_sky130_contact_______, (6.82,4.16)))
sram_2_16_sky130_hierarc.add(gdstk.Reference(c_sram_2_16_sky130_contact________, (0.305,12.115)))
sram_2_16_sky130_hierarc.add(gdstk.Reference(c_sram_2_16_sky130_contact________, (7.215,12.115)))
sram_2_16_sky130_hierarc.add(gdstk.Reference(c_sram_2_16_sky130_contact________, (0.705,11.755)))
sram_2_16_sky130_hierarc.add(gdstk.Reference(c_sram_2_16_sky130_contact________, (7.615,11.755)))
sram_2_16_sky130_hierarc.add(gdstk.Reference(c_sram_2_16_sky130_contact________, (1.105,11.395)))
sram_2_16_sky130_hierarc.add(gdstk.Reference(c_sram_2_16_sky130_contact________, (8.015,11.395)))
sram_2_16_sky130_hierarc.add(gdstk.Reference(c_sram_2_16_sky130_contact______, (4.81,1.42)))
sram_2_16_sky130_hierarc.add(gdstk.Reference(c_sram_2_16_sky130_contact_________, (4.805,1.395)))
sram_2_16_sky130_hierarc.add(gdstk.Reference(c_sram_2_16_sky130_contact______, (4.81,3)))
sram_2_16_sky130_hierarc.add(gdstk.Reference(c_sram_2_16_sky130_contact_________, (4.805,2.975)))
sram_2_16_sky130_hierarc.add(gdstk.Reference(c_sram_2_16_sky130_contact______, (13.13,0.41)))
sram_2_16_sky130_hierarc.add(gdstk.Reference(c_sram_2_16_sky130_contact_________, (13.13,0.385)))
sram_2_16_sky130_hierarc.add(gdstk.Reference(c_sram_2_16_sky130_contact______, (15.29,1.42)))
sram_2_16_sky130_hierarc.add(gdstk.Reference(c_sram_2_16_sky130_contact_________, (15.285,1.395)))
sram_2_16_sky130_hierarc.add(gdstk.Reference(c_sram_2_16_sky130_contact______, (19.23,1.42)))
sram_2_16_sky130_hierarc.add(gdstk.Reference(c_sram_2_16_sky130_contact_________, (19.225,1.395)))
sram_2_16_sky130_hierarc.add(gdstk.Reference(c_sram_2_16_sky130_contact______, (13.13,9.89)))
sram_2_16_sky130_hierarc.add(gdstk.Reference(c_sram_2_16_sky130_contact_________, (13.13,9.865)))
sram_2_16_sky130_hierarc.add(gdstk.Reference(c_sram_2_16_sky130_contact______, (15.29,10.9)))
sram_2_16_sky130_hierarc.add(gdstk.Reference(c_sram_2_16_sky130_contact_________, (15.285,10.875)))
sram_2_16_sky130_hierarc.add(gdstk.Reference(c_sram_2_16_sky130_contact______, (19.23,10.9)))
sram_2_16_sky130_hierarc.add(gdstk.Reference(c_sram_2_16_sky130_contact_________, (19.225,10.875)))
sram_2_16_sky130_hierarc.add(gdstk.Reference(c_sram_2_16_sky130_contact______, (2.83,1.42)))
sram_2_16_sky130_hierarc.add(gdstk.Reference(c_sram_2_16_sky130_contact_________, (2.825,1.395)))
sram_2_16_sky130_hierarc.add(gdstk.Reference(c_sram_2_16_sky130_contact______, (2.83,3)))
sram_2_16_sky130_hierarc.add(gdstk.Reference(c_sram_2_16_sky130_contact_________, (2.825,2.975)))
sram_2_16_sky130_hierarc.add(gdstk.Reference(c_sram_2_16_sky130_contact______, (10.655,1.585)))
sram_2_16_sky130_hierarc.add(gdstk.Reference(c_sram_2_16_sky130_contact_________, (10.65,1.56)))
sram_2_16_sky130_hierarc.add(gdstk.Reference(c_sram_2_16_sky130_contact______, (17.25,1.42)))
sram_2_16_sky130_hierarc.add(gdstk.Reference(c_sram_2_16_sky130_contact_________, (17.245,1.395)))
sram_2_16_sky130_hierarc.add(gdstk.Reference(c_sram_2_16_sky130_contact______, (10.655,11.065)))
sram_2_16_sky130_hierarc.add(gdstk.Reference(c_sram_2_16_sky130_contact_________, (10.65,11.04)))
sram_2_16_sky130_hierarc.add(gdstk.Reference(c_sram_2_16_sky130_contact______, (17.25,10.9)))
sram_2_16_sky130_hierarc.add(gdstk.Reference(c_sram_2_16_sky130_contact_________, (17.245,10.875)))
sram_2_16_sky130_hierarc.add(gdstk.Label('in_0', (0.47,0.675), layer=68, texttype=5))
sram_2_16_sky130_hierarc.add(gdstk.Label('in_1', (0.87,2.485), layer=68, texttype=5))
sram_2_16_sky130_hierarc.add(gdstk.Label('in_2', (1.27,3.835), layer=68, texttype=5))
sram_2_16_sky130_hierarc.add(gdstk.Label('out_0', (18.688,0.425), layer=67, texttype=5))
sram_2_16_sky130_hierarc.add(gdstk.Label('out_1', (18.688,2.735), layer=67, texttype=5))
sram_2_16_sky130_hierarc.add(gdstk.Label('out_2', (18.688,3.585), layer=67, texttype=5))
sram_2_16_sky130_hierarc.add(gdstk.Label('out_3', (18.688,5.895), layer=67, texttype=5))
sram_2_16_sky130_hierarc.add(gdstk.Label('out_4', (18.688,6.745), layer=67, texttype=5))
sram_2_16_sky130_hierarc.add(gdstk.Label('out_5', (18.688,9.055), layer=67, texttype=5))
sram_2_16_sky130_hierarc.add(gdstk.Label('out_6', (18.688,9.905), layer=67, texttype=5))
sram_2_16_sky130_hierarc.add(gdstk.Label('out_7', (18.688,12.215), layer=67, texttype=5))
sram_2_16_sky130_hierarc.add(gdstk.Label('vdd', (19.39,11.06), layer=70, texttype=5))
sram_2_16_sky130_hierarc.add(gdstk.Label('vdd', (4.97,1.58), layer=70, texttype=5))
sram_2_16_sky130_hierarc.add(gdstk.Label('vdd', (15.45,11.06), layer=70, texttype=5))
sram_2_16_sky130_hierarc.add(gdstk.Label('vdd', (19.39,1.58), layer=70, texttype=5))
sram_2_16_sky130_hierarc.add(gdstk.Label('vdd', (15.45,1.58), layer=70, texttype=5))
sram_2_16_sky130_hierarc.add(gdstk.Label('vdd', (13.295,0.57), layer=70, texttype=5))
sram_2_16_sky130_hierarc.add(gdstk.Label('vdd', (13.295,10.05), layer=70, texttype=5))
sram_2_16_sky130_hierarc.add(gdstk.Label('vdd', (4.97,3.16), layer=70, texttype=5))
sram_2_16_sky130_hierarc.add(gdstk.Label('gnd', (2.99,3.16), layer=70, texttype=5))
sram_2_16_sky130_hierarc.add(gdstk.Label('gnd', (17.41,1.58), layer=70, texttype=5))
sram_2_16_sky130_hierarc.add(gdstk.Label('gnd', (10.815,1.745), layer=70, texttype=5))
sram_2_16_sky130_hierarc.add(gdstk.Label('gnd', (17.41,11.06), layer=70, texttype=5))
sram_2_16_sky130_hierarc.add(gdstk.Label('gnd', (10.815,11.225), layer=70, texttype=5))
sram_2_16_sky130_hierarc.add(gdstk.Label('gnd', (2.99,1.58), layer=70, texttype=5))

lib.write_gds('sram_2_16_sky130_hierarchical_predecode3x8.gds')
